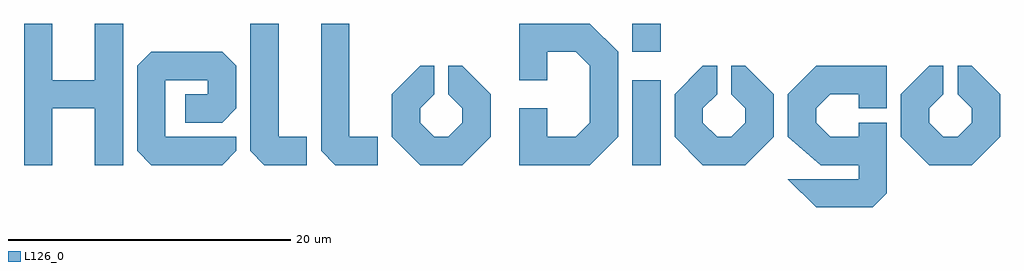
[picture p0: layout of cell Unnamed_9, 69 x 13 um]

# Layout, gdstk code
import gdstk
lib = gdstk.Library(unit=1e-6, precision=1e-09)
def R(c, l, rs):  # rectangles x0, y0, x1, y1
    for r in rs: c.add(gdstk.rectangle(r[:2], r[2:], *l))
def P(c, l, *ps):  # polygons
    for p in ps: c.add(gdstk.Polygon(p, *l))
L126_0 = (126, 0)

text_gdsfactorypcomponen = lib.new_cell('text_gdsfactorypcomponentsptextsptext_THello_S10_P0_0_J_2a1577c8')
P(text_gdsfactorypcomponen, L126_0, [(29,0),(27,2),(27,5),(29,7),(30,7),(30,5),(29,4),(29,3),(30,2),(31,2),(32,3),(32,4),(31,5),(31,7),(32,7),(34,5),(34,2),(32,0)],
  [(10,0),(9,1),(9,7),(10,8),(15,8),(16,7),(16,4),(15,3),(12.4,3),(12.4,5),(14,5),(14,6),(11,6),(11,2),(16,2),(16,1),(15,0)],
  [(1,0),(1,10),(3,10),(3,6),(6,6),(6,10),(8,10),(8,0),(6,0),(6,4),(3,4),(3,0)],
  [(18,0),(17,1),(17,10),(19,10),(19,2),(21,2),(21,0)],
  [(23,0),(22,1),(22,10),(24,10),(24,2),(26,2),(26,0)])

c_text_gdsfactorypcomponen = lib.new_cell('text_gdsfactorypcomponentsptextsptext_TDiogo_S10_P0_0_J_02f5e286')
R(c_text_gdsfactorypcomponen, L126_0, [(9,0,11,6), (9,8,11,10)])
P(c_text_gdsfactorypcomponen, L126_0, [(14,0),(12,2),(12,5),(14,7),(15,7),(15,5),(14,4),(14,3),(15,2),(16,2),(17,3),(17,4),(16,5),(16,7),(17,7),(19,5),(19,2),(17,0)],
  [(22,-3),(20,-1),(25,-1),(25,0),(22.34,0),(20,2),(20,5),(22,7),(27,7),(27,4),(25,4),(25,5),(23,5),(22,4),(22,3),(23,2),(25,2),(25,3),(27,3),(27,-2),(26,-3)],
  [(30,0),(28,2),(28,5),(30,7),(31,7),(31,5),(30,4),(30,3),(31,2),(32,2),(33,3),(33,4),(32,5),(32,7),(33,7),(35,5),(35,2),(33,0)],
  [(1,0),(1,4),(3,4),(3,2),(5,2),(6,3),(6,7),(5,8),(3,8),(3,6),(1,6),(1,10),(6,10),(8,8),(8,2),(6,0)])

unnamed_9 = lib.new_cell('Unnamed_9')
unnamed_9.add(gdstk.Reference(text_gdsfactorypcomponen, (0,0)))
unnamed_9.add(gdstk.Reference(c_text_gdsfactorypcomponen, (35,0)))

lib.write_gds('Unnamed_9.gds')
